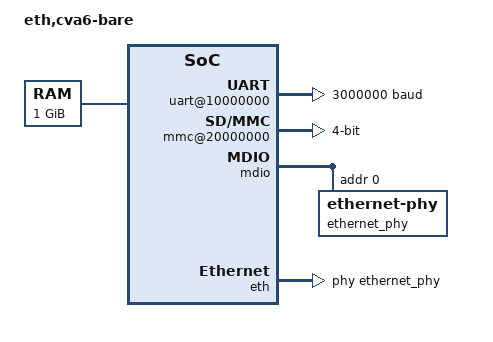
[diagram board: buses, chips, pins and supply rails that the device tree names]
/dts-v1/;

/ {
  #address-cells = <2>;
  #size-cells = <2>;
  compatible = "eth,cva6-bare-dev";
  model = "eth,cva6-bare";
  chosen {
    stdout-path = "/soc/uart@10000000:3000000";
  };
  cpus {
    #address-cells = <1>;
    #size-cells = <0>;
    timebase-frequency = <47000000>;
    CPU0: cpu@0 {
      clock-frequency = <94000000>;
      device_type = "cpu";
      reg = <0>;
      status = "okay";
      compatible = "eth, cva6", "riscv";
      riscv,isa-base = "rv64i";
      riscv,isa-extensions = "i", "m", "a", "f", "c", "b",
                             "zifencei", "zicsr",
                             "zicntr", "zihpm",
                             "zbc", "zcb";
      mmu-type = "riscv,sv39";
      tlb-split;
      CPU0_intc: interrupt-controller {
        #interrupt-cells = <1>;
        interrupt-controller;
        compatible = "riscv,cpu-intc";
      };
    };
    CPU1: cpu@1 {
      clock-frequency = <94000000>;
      device_type = "cpu";
      reg = <1>;
      status = "okay";
      compatible = "eth, cva6", "riscv";
      riscv,isa-base = "rv64i";
      riscv,isa-extensions = "i", "m", "a", "f", "c", "b",
                             "zifencei", "zicsr",
                             "zicntr", "zihpm",
                             "zbc", "zcb";
      mmu-type = "riscv,sv39";
      tlb-split;
      CPU1_intc: interrupt-controller {
        #interrupt-cells = <1>;
        interrupt-controller;
        compatible = "riscv,cpu-intc";
      };
    };
    CPU2: cpu@2 {
      clock-frequency = <94000000>;
      device_type = "cpu";
      reg = <2>;
      status = "disabled";
      compatible = "eth, cva6", "riscv";
      riscv,isa-base = "rv64i";
      riscv,isa-extensions = "i", "m", "a", "f", "c", "b",
                             "zifencei", "zicsr",
                             "zicntr", "zihpm",
                             "zbc", "zcb";
      mmu-type = "riscv,sv39";
      tlb-split;
      CPU2_intc: interrupt-controller {
        #interrupt-cells = <1>;
        interrupt-controller;
        compatible = "riscv,cpu-intc";
      };
    };
    CPU3: cpu@3 {
      clock-frequency = <94000000>;
      device_type = "cpu";
      reg = <3>;
      status = "disabled";
      compatible = "eth, cva6", "riscv";
      riscv,isa-base = "rv64i";
      riscv,isa-extensions = "i", "m", "a", "f", "c", "b",
                             "zifencei", "zicsr",
                             "zicntr", "zihpm",
                             "zbc", "zcb";
      mmu-type = "riscv,sv39";
      tlb-split;
      CPU3_intc: interrupt-controller {
        #interrupt-cells = <1>;
        interrupt-controller;
        compatible = "riscv,cpu-intc";
      };
    };
  };
  memory@80000000 {
    device_type = "memory";
    reg = <0x0 0x80000000 0x0 0x40000000>;
  };
  reserved-memory {
    #address-cells = <2>;
    #size-cells = <2>;
    ranges;
    model@af000000 {
      reg = <0x0 0xaf000000 0x0 0x0f000000>;
      no-map;
    };
    attention-kv@a0000000 {
      reg = <0x0 0xa0000000 0x0 0x0e000000>;
      no-map;
    };
    scratch@be000000 {
      reg = <0x0 0xbe000000 0x0 0x02000000>;
    };
  };
  soc {
    #address-cells = <2>;
    #size-cells = <2>;
    compatible = "eth,cva6-bare-soc", "simple-bus";
    ranges;
    clint@2000000 {
      compatible = "riscv,clint0";
      interrupts-extended = <&CPU0_intc 3 &CPU0_intc 7
                             &CPU1_intc 3 &CPU1_intc 7
                             &CPU2_intc 3 &CPU2_intc 7
                             &CPU3_intc 3 &CPU3_intc 7>;
      reg = <0x0 0x2000000 0x0 0xc0000>;
      reg-names = "control";
    };
    PLIC0: interrupt-controller@c000000 {
      #address-cells = <0>;
      #interrupt-cells = <1>;
      compatible = "riscv,plic0";
      interrupt-controller;
      interrupts-extended = <&CPU0_intc 11 &CPU0_intc 9
                             &CPU1_intc 11 &CPU1_intc 9
                             &CPU2_intc 11 &CPU2_intc 9
                             &CPU3_intc 11 &CPU3_intc 9>;
      reg = <0x0 0xc000000 0x0 0x4000000>;
      riscv,max-priority = <7>;
      riscv,ndev = <30>;
    };
    uart@10000000 {
      compatible = "ns16750", "ns16550";
      reg = <0x0 0x10000000 0x0 0x1000>;
      clock-frequency = <96000000>;
      current-speed = <3000000>;
      interrupt-parent = <&PLIC0>;
      interrupts = <1>;
      reg-shift = <2>;
      reg-io-width = <4>;
    };
    timer@18000000 {
      compatible = "pulp,apb_timer";
      interrupts = <0x00000004 0x00000005 0x00000006 0x00000007>;
      reg = <0x00000000 0x18000000 0x00000000 0x00001000>;
      interrupt-parent = <&PLIC0>;
      reg-names = "control";
    };
    mmc@20000000 {
      compatible = "riscv,axi-sd-card-1.0";
      reg = <0x0 0x20000000 0x0 0x10000>;
      interrupt-parent = <&PLIC0>;
      interrupts = <2>;
      clock = <94000000>;
      bus-width = <4>;
      fifo-depth = <128>;
      max-frequency = <47000000>;
      cap-sd-highspeed;
      no-sdio;
      disable-wp;
    };
    mdio {
      #address-cells = <1>;
      #size-cells = <0>;
      ethernet_phy: ethernet-phy@0 {
        reg = <0>;
      };
    };
    eth: lowrisc-eth@30000000 {
      compatible = "lowrisc-eth";
      device_type = "network";
      interrupt-parent = <&PLIC0>;
      interrupts = <3 0>;
      local-mac-address = [00 18 3e 02 e3 7f];
      reg = <0x0 0x30000000 0x0 0x8000>;
      phy-handle = <&ethernet_phy>;
    };
    xlnx_gpio: gpio@40000000 {
      #gpio-cells = <2>;
      compatible = "xlnx,xps-gpio-1.00.a";
      gpio-controller;
      reg = <0x0 0x40000000 0x0 0x10000>;
      xlnx,all-inputs = <0x0>;
      xlnx,all-inputs-2 = <0x1>;
      xlnx,dout-default = <0x0>;
      xlnx,dout-default-2 = <0x0>;
      xlnx,gpio-width = <0x20>;
      xlnx,gpio2-width = <0x20>;
      xlnx,interrupt-present = <0x0>;
      xlnx,is-dual = <0x1>;
      xlnx,tri-default = <0xffffffff>;
      xlnx,tri-default-2 = <0xffffffff>;
    };
  };
};
